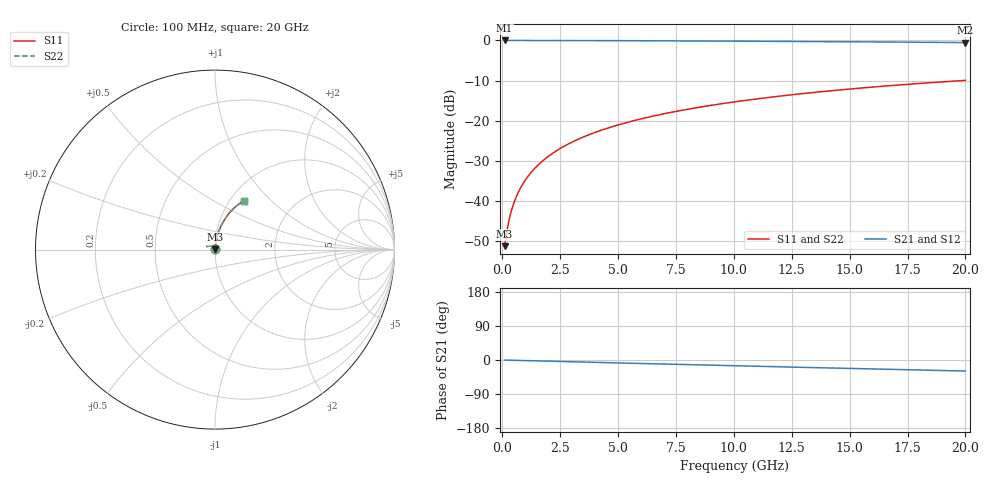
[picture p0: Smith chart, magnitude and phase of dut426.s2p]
! Touchstone file exported from HFSS 2026.1.0
!  File:  C:/ffzhzh/LocalFiles/Ansys_Project_Files/temp_train_TMRDL_426_1783005369_46388.aedt
!  Generated:  11:17:32 PM Jul  2, 2026
!  Design:  TMRDL
!  Project:  temp_train_TMRDL_426_1783005369_46388
! Variables:
!  h_bsmrdl = 2um
!  h_ox = 20um
!  h_rdl = 5um
!  h_sub = 80um
!  h_tmrdl = 5.13um
!  h_tsv = 80um
!  h_via = 3um
!  l_bsmrdl = 300um
!  l_sub = 781.36um
!  l_tmrdl = 381.36um
!  m_sub = 200um
!  pitch = 44.6um
!  r_tsv = 6um
!  s_tmrdl = 10um
!  w_bsmrdl = 18um
!  w_sub = 500um
!  w_tmrdl = 13.95um
!  x_tsv_center1 = 388.335um
!  x_tsv_center2 = 706.335um
!  x_tsv_center3 = 1101.645um
!  x_tsv_center4 = 1419.645um
!  x_tsv_center5 = 1814.955um
!  x_tsv_center6 = 2132.955um
# GHz S MA R 50.000000
! Terminal data exported
! Port[1] = TM_RDL1_1_T1
! Port[2] = TM_RDL1_1_T2
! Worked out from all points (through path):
!   200 points, 100 MHz to 20 GHz, reference 50 ohm
!   highest |S21| = -0.02 dB at 100 MHz (marker M1); lowest = -0.5 dB at 20 GHz (marker M2)
!   group delay of S21, straight-line fit = 4.05 ps
!   lowest |S11| = -51.2 dB at 100 MHz (marker M3), VSWR 1.01, Z = 50.2 + j0.19 ohm
!   |S11| at or under -10 dB: start of sweep to 19.89 GHz
!   |S22| runs from -51.2 to -10.0 dB; largest |S21 - S12| = 2.6e-15
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0.1  0.002741 43.6  0.998 -0.2  0.998 -0.2  0.002741 43.6
! Gamma 0 0 0 0
! Port Impedance 50 0 50 0
0.2  0.004274 61.2  0.998 -0.3  0.998 -0.3  0.004274 61.2
0.3  0.005966 68.9  0.9979 -0.5  0.9979 -0.5  0.005966 68.9
0.4  0.007701 73.2  0.9978 -0.6  0.9978 -0.6  0.007701 73.2
0.5  0.009455 75.8  0.9978 -0.8  0.9978 -0.8  0.009455 75.8
0.6  0.01122 77.6  0.9977 -0.9  0.9977 -0.9  0.01122 77.6
0.8  0.01477 79.8  0.9976 -1.3  0.9976 -1.3  0.01477 79.8
1.1  0.02013 81.5  0.9974 -1.7  0.9974 -1.7  0.02013 81.5
1.5  0.02729 82.4  0.9971 -2.3  0.9971 -2.3  0.02729 82.4
1.8  0.03265 82.6  0.9968 -2.8  0.9968 -2.8  0.03265 82.6
2.1  0.038 82.6  0.9965 -3.3  0.9965 -3.3  0.038 82.6
2.7  0.04864 82.2  0.9958 -4.2  0.9958 -4.2  0.04864 82.2
3.5  0.06269 81.4  0.9946 -5.4  0.9946 -5.4  0.06269 81.4
4.2  0.07484 80.5  0.9933 -6.5  0.9933 -6.5  0.07484 80.5
5  0.08858 79.5  0.9918 -7.7  0.9918 -7.7  0.08858 79.5
5.9  0.1039 78.3  0.9898 -9.1  0.9898 -9.1  0.1039 78.3
6.8  0.1189 77.1  0.9877 -10.4  0.9877 -10.4  0.1189 77.1
8.3  0.1437 75.1  0.9838 -12.6  0.9838 -12.6  0.1437 75.1
10.1  0.1728 72.6  0.9785 -15.3  0.9785 -15.3  0.1728 72.6
13.4  0.224 68.1  0.9672 -20.0  0.9672 -20.0  0.224 68.1
16.7  0.2725 63.7  0.9541 -24.6  0.9541 -24.6  0.2725 63.7
20  0.3177 59.3  0.9396 -29.1  0.9396 -29.1  0.3177 59.3
